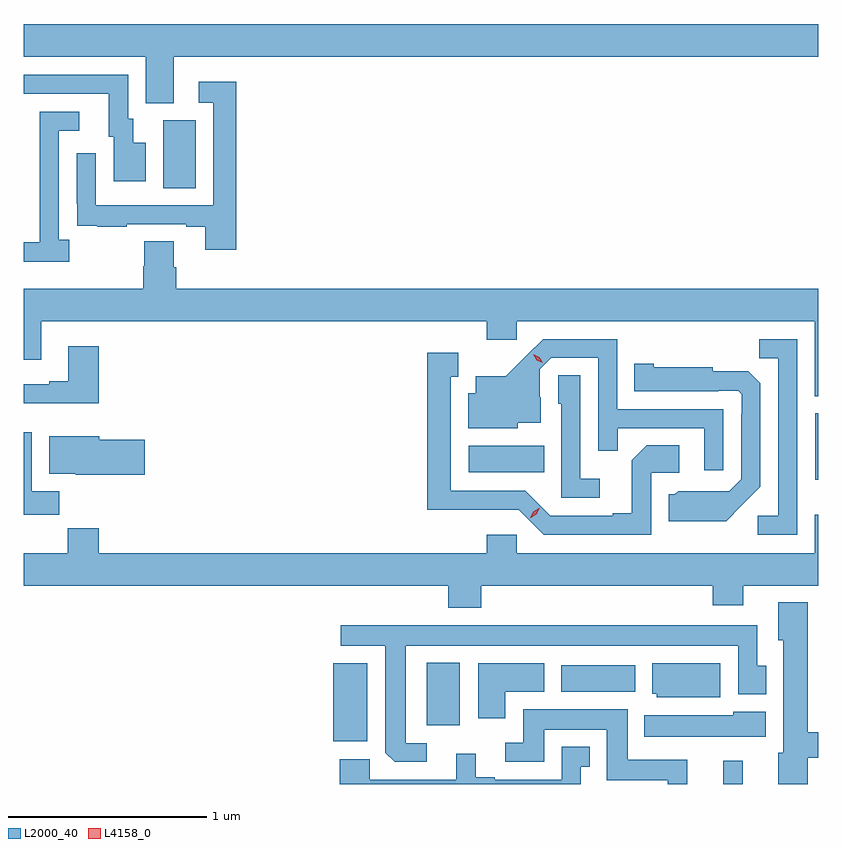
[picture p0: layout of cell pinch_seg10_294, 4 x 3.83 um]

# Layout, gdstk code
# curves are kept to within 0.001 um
import gdstk
lib = gdstk.Library(unit=1e-6, precision=1e-09)
def R(c, l, rs):  # rectangles x0, y0, x1, y1
    for r in rs: c.add(gdstk.rectangle(r[:2], r[2:], *l))
def P(c, l, *ps):  # polygons
    for p in ps: c.add(gdstk.Polygon(p, *l))
L2000_40 = (2000, 40)
L4158_0 = (4158, 0)

pinch_seg10_294 = lib.new_cell('pinch_seg10_294')
R(pinch_seg10_294, L2000_40, [(415.934,1297.985,416.033,1298.101), (413.972,1298.201,414.142,1298.593), (414.443,1298.28,414.607,1298.596), (415.118,1298.45,415.492,1298.584), (416.399,1299.518,416.413,1299.853), (414.654,1299.554,415.034,1299.688), (413.114,1300.984,413.278,1301.328)])
P(pinch_seg10_294, L2000_40, [(413.167,1301.648),(416.413,1301.648),(416.413,1301.812),(412.413,1301.812),(412.413,1301.648),(413.027,1301.648),(413.027,1301.413),(413.167,1301.413)],
  [(413.026,1301.215),(412.963,1301.215),(412.963,1301.334),(412.938,1301.334),(412.938,1301.556),(412.413,1301.556),(412.413,1301.46),(412.841,1301.46),(412.841,1301.244),(412.865,1301.244),(412.865,1301.019),(413.026,1301.019)],
  [(413.483,1301.521),(413.295,1301.521),(413.295,1301.415),(413.367,1301.415),(413.367,1300.899),(412.776,1300.899),(412.776,1301.161),(412.68,1301.161),(412.68,1300.906),(412.681,1300.906),(412.681,1300.797),(412.783,1300.797),(412.783,1300.791),(412.931,1300.791),(412.931,1300.803),(413.231,1300.803),(413.231,1300.791),(413.327,1300.791),(413.327,1300.674),(413.483,1300.674)],
  [(412.642,1300.726),(412.59,1300.726),(412.59,1301.274),(412.693,1301.274),(412.693,1301.37),(412.494,1301.37),(412.494,1300.913),(412.493,1300.913),(412.493,1300.713),(412.413,1300.713),(412.413,1300.616),(412.642,1300.616)],
  [(416.413,1300.48),(413.18,1300.48),(413.18,1300.586),(413.167,1300.586),(413.167,1300.718),(413.02,1300.718),(413.02,1300.593),(413.015,1300.593),(413.015,1300.48),(412.413,1300.48),(412.413,1300.122),(412.501,1300.122),(412.501,1300.316),(414.743,1300.316),(414.743,1300.221),(414.894,1300.221),(414.894,1300.316),(416.396,1300.316),(416.396,1299.938),(416.413,1299.938)],
  [(415.935,1299.873),(415.401,1299.873),(415.401,1300.224),(415.028,1300.224),(414.841,1300.039),(414.689,1300.039),(414.689,1299.952),(414.65,1299.952),(414.65,1299.776),(414.9,1299.776),(414.9,1299.803),(415.015,1299.803),(415.015,1299.932),(415.011,1299.932),(415.011,1300.074),(415.068,1300.131),(415.305,1300.131),(415.305,1299.664),(415.403,1299.664),(415.403,1299.777),(415.839,1299.777),(415.839,1299.564),(415.935,1299.564)],
  [(416.307,1300.224),(416.116,1300.224),(416.116,1300.129),(416.211,1300.129),(416.211,1299.336),(416.109,1299.336),(416.109,1299.24),(416.307,1299.24)],
  [(412.79,1300.189),(412.637,1300.189),(412.637,1300.012),(412.541,1300.012),(412.541,1299.999),(412.413,1299.999),(412.413,1299.902),(412.79,1299.902)],
  [(415.572,1299.552),(415.714,1299.552),(415.714,1299.692),(415.549,1299.692),(415.473,1299.616),(415.473,1299.349),(415.379,1299.349),(415.379,1299.336),(415.065,1299.336),(414.939,1299.462),(414.562,1299.462),(414.562,1300.035),(414.601,1300.035),(414.601,1300.156),(414.444,1300.156),(414.444,1299.365),(414.906,1299.366),(415.032,1299.24),(415.572,1299.24)],
  [(416.029,1299.389),(416.121,1299.482),(416.121,1300.004),(416.062,1300.063),(415.881,1300.063),(415.881,1300.084),(415.584,1300.084),(415.584,1300.102),(415.486,1300.102),(415.486,1299.962),(415.91,1299.962),(415.91,1299.966),(416.01,1299.966),(416.028,1299.948),(416.028,1299.848),(416.025,1299.848),(416.025,1299.519),(415.965,1299.459),(415.708,1299.46),(415.692,1299.444),(415.661,1299.444),(415.661,1299.308),(415.949,1299.308)],
  [(415.312,1299.523),(415.215,1299.523),(415.215,1300.043),(415.104,1300.043),(415.104,1299.9),(415.119,1299.9),(415.119,1299.426),(415.312,1299.426)],
  [(412.592,1299.46),(412.453,1299.46),(412.453,1299.757),(412.413,1299.757),(412.413,1299.342),(412.592,1299.342)],
  [(413.023,1299.719),(412.792,1299.719),(412.792,1299.736),(412.541,1299.736),(412.541,1299.548),(412.674,1299.548),(412.674,1299.542),(413.023,1299.542)],
  [(414.716,1298.984),(415.883,1298.984),(415.883,1298.885),(416.035,1298.885),(416.035,1298.984),(416.413,1298.984),(416.413,1299.34),(416.396,1299.34),(416.396,1299.148),(414.894,1299.148),(414.894,1299.241),(414.743,1299.241),(414.743,1299.148),(412.79,1299.148),(412.79,1299.272),(412.633,1299.272),(412.633,1299.148),(412.413,1299.148),(412.413,1298.984),(414.551,1298.984),(414.551,1298.873),(414.716,1298.873)],
  [(416.36,1298.118),(416.413,1298.118),(416.413,1298.246),(416.36,1298.246),(416.36,1298.899),(416.213,1298.899),(416.213,1298.709),(416.237,1298.709),(416.237,1298.142),(416.213,1298.142),(416.213,1297.985),(416.36,1297.985)],
  [(414.442,1298.19),(414.337,1298.19),(414.337,1298.681),(416.01,1298.681),(416.01,1298.436),(416.152,1298.436),(416.152,1298.58),(416.107,1298.58),(416.107,1298.785),(414.009,1298.785),(414.009,1298.681),(414.233,1298.681),(414.234,1298.143),(414.28,1298.097),(414.442,1298.097)],
  [(415.921,1298.593),(415.577,1298.593),(415.577,1298.439),(415.599,1298.439),(415.599,1298.423),(415.921,1298.423)],
  [(414.838,1298.45),(415.033,1298.45),(415.033,1298.593),(414.701,1298.593),(414.701,1298.316),(414.838,1298.316)],
  [(415.754,1298.107),(415.453,1298.107),(415.453,1298.362),(414.929,1298.362),(414.929,1298.193),(414.837,1298.193),(414.837,1298.097),(415.033,1298.097),(415.033,1298.258),(415.349,1298.258),(415.349,1298.003),(415.655,1298.003),(415.655,1297.985),(415.754,1297.985)],
  [(416.149,1298.35),(415.986,1298.35),(415.986,1298.332),(415.538,1298.332),(415.538,1298.222),(416.149,1298.222)],
  [(415.218,1298.073),(415.264,1298.073),(415.264,1298.173),(415.122,1298.173),(415.122,1298.007),(414.784,1298.007),(414.784,1298.02),(414.688,1298.02),(414.688,1298.137),(414.59,1298.137),(414.59,1298.007),(414.156,1298.007),(414.156,1298.11),(414.005,1298.11),(414.005,1297.985),(415.218,1297.985)])
P(pinch_seg10_294, L4158_0, [(415.025,1300.105),(414.995,1300.12),(414.977,1300.15),(414.977,1300.15),(414.978,1300.15),(415.008,1300.135),(415.026,1300.105),(415.026,1300.105)],
  [(414.962,1299.324),(414.962,1299.325),(414.979,1299.357),(415.011,1299.377),(415.011,1299.377),(415.011,1299.376),(414.994,1299.344),(414.962,1299.324)])

lib.write_gds('pinch_seg10_294.gds')
